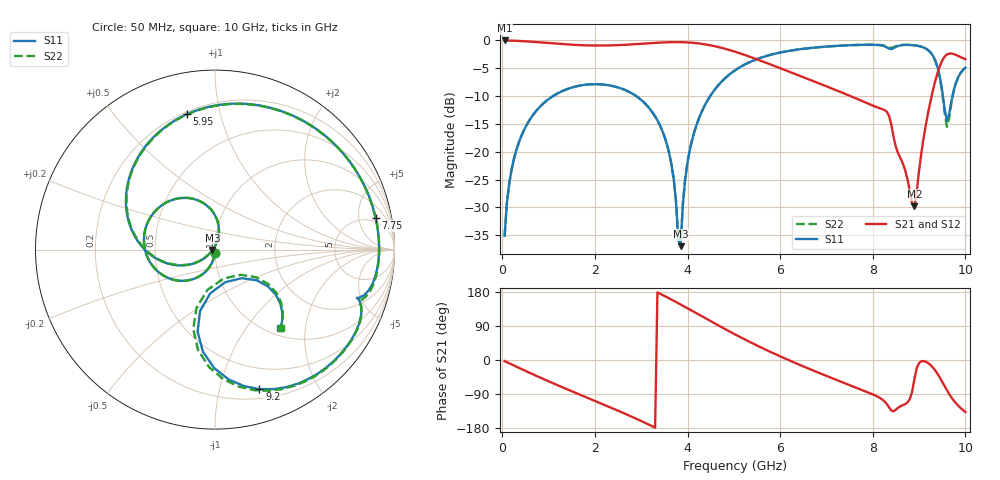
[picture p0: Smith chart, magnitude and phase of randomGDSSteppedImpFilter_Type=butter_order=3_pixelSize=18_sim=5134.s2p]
! freq	dB(S11)	phase(S11)	dB(S12)	phase(S12)
!  dB(S21)	phase(S21)	dB(S22)	phase(S22)
!S-par simulation data
#  GHz  S  DB  R 50
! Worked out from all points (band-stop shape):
!   200 points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, 50 MHz to 10 GHz, reference 50 ohm
!   highest |S21| = -0.01 dB at 50 MHz (marker M1); lowest = -29.8 dB at 8.9 GHz (marker M2)
!   |S21| within 3 dB of the highest: start of sweep to 5.37 GHz; 9.544 GHz to 9.898 GHz (354.4 MHz wide, 3.65 % of centre)
!   lowest |S11| = -37.0 dB at 3.85 GHz (marker M3), VSWR 1.03, Z = 48.6 - j0.193 ohm
!   |S11| at or under -10 dB: start of sweep to 1.095 GHz; 2.89 GHz to 4.49 GHz (1.6 GHz wide, 43.3 % of centre); 9.515 GHz to 9.721 GHz (206.3 MHz wide, 2.15 % of centre)
!   |S22| runs from -36.9 to -0.8 dB; largest |S21 - S12| = 0
!   S11 on the Smith chart (normalised r, x): 50 MHz: 1.00, -0.04; 5.95 GHz: 0.21, +0.79; 7.75 GHz: 4.00, +8.39; 9.2 GHz: 0.29, -1.33; 10 GHz: 1.13, -1.47
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0.05  -35.10 -92.6  -0.01 -2.9  -0.01 -2.9  -35.10 -92.6
0.2  -23.22 -101.8  -0.04 -11.6  -0.04 -11.6  -23.22 -101.8
0.5  -15.59 -119.2  -0.16 -28.7  -0.16 -28.7  -15.59 -119.2
1.1  -9.97 -152.0  -0.54 -61.6  -0.54 -61.6  -9.97 -152.2
1.75  -8.01 174.4  -0.87 -95.2  -0.87 -95.2  -8.01 174.3
2.55  -8.58 133.7  -0.83 -136.3  -0.83 -136.3  -8.58 133.4
3.4  -15.19 87.3  -0.39 175.4  -0.39 175.4  -15.19 87.0
3.65  -22.13 75.6  -0.31 159.6  -0.31 159.6  -22.12 75.3
3.85  -36.96 -172.0  -0.31 146.5  -0.31 146.5  -36.85 -173.2
3.95  -24.88 -140.8  -0.34 139.9  -0.34 139.9  -24.87 -141.6
4.15  -16.32 -148.1  -0.45 126.3  -0.45 126.3  -16.32 -148.7
4.6  -8.71 -176.4  -1.06 95.6  -1.06 95.6  -8.71 -177.0
5.05  -5.23 154.7  -2.10 66.0  -2.10 66.0  -5.23 154.0
5.95  -2.27 101.8  -4.82 12.4  -4.82 12.4  -2.27 101.1
6.7  -1.32 62.5  -7.26 -27.1  -7.26 -27.1  -1.32 61.7
7.75  -0.80 11.1  -10.82 -78.1  -10.82 -78.1  -0.79 10.4
8.35  -1.48 -18.6  -13.51 -124.7  -13.51 -124.7  -1.29 -19.1
8.9  -0.88 -46.6  -29.81 -50.0  -29.81 -50.0  -0.87 -48.2
9.2  -1.77 -72.4  -12.79 -8.5  -12.79 -8.5  -1.79 -74.3
9.45  -6.60 -102.0  -4.56 -46.9  -4.56 -46.9  -6.76 -105.3
9.6  -14.42 -72.3  -2.53 -79.7  -2.53 -79.7  -15.49 -73.2
10  -4.87 -50.3  -3.37 -137.2  -3.37 -137.2  -4.90 -49.8
